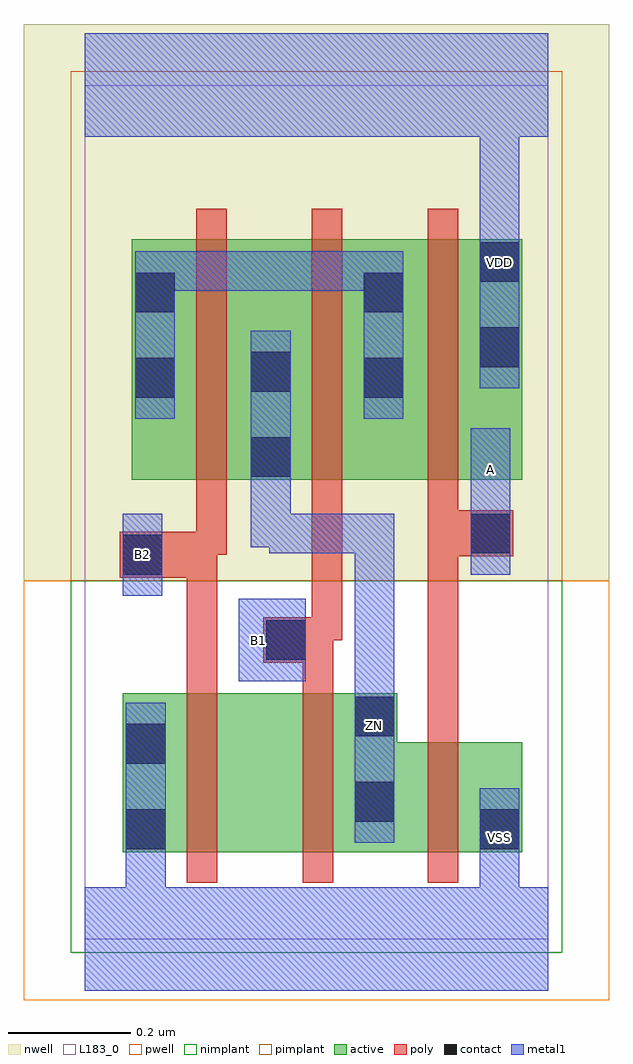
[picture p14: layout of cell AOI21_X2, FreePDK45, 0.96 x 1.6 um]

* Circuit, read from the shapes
.subckt AOI21_X2 A B1 B2 VDD VSS ZN
M1 n1 B2 VSS VSUBS nfet w=0.26u l=0.05u
M2 ZN B1 n1 VSUBS nfet w=0.26u l=0.05u
M3 VSS A ZN VSUBS nfet w=0.18u l=0.05u
M4 ZN B2 n2 n3 pfet w=0.395u l=0.05u
M5 n2 B1 ZN n3 pfet w=0.395u l=0.05u
M6 VDD A n2 n3 pfet w=0.395u l=0.05u
.ends

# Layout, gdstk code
import gdstk
lib = gdstk.Library(unit=1e-6, precision=1e-10)
def R(c, l, rs):  # rectangles x0, y0, x1, y1
    for r in rs: c.add(gdstk.rectangle(r[:2], r[2:], *l))
def P(c, l, *ps):  # polygons
    for p in ps: c.add(gdstk.Polygon(p, *l))
active = (1, 0)
pwell = (2, 0)
nwell = (3, 0)
nimplant = (4, 0)
pimplant = (5, 0)
poly = (9, 0)
contact = (10, 0)
metal1 = (11, 0)
L183_0 = (183, 0)

aoi21_x2 = lib.new_cell('AOI21_X2')
P(aoi21_x2, active, [(0.0625,0.1425),(0.1675,0.1425),(0.2175,0.1425),(0.3575,0.1425),(0.4075,0.1425),(0.5625,0.1425),(0.6125,0.1425),(0.7175,0.1425),(0.7175,0.3225),(0.6125,0.3225),(0.5625,0.3225),(0.5125,0.3225),(0.5125,0.4025),(0.4075,0.4025),(0.3575,0.4025),(0.2175,0.4025),(0.1675,0.4025),(0.0625,0.4025)],
  [(0.0775,0.7525),(0.1825,0.7525),(0.2325,0.7525),(0.3725,0.7525),(0.4225,0.7525),(0.5625,0.7525),(0.6125,0.7525),(0.7175,0.7525),(0.7175,1.1475),(0.6125,1.1475),(0.5625,1.1475),(0.4225,1.1475),(0.3725,1.1475),(0.2325,1.1475),(0.1825,1.1475),(0.0775,1.1475)])
P(aoi21_x2, pwell, [(-0.1,-0.1),(0.86,-0.1),(0.86,0.5875),(0.66,0.5875),(0.1,0.5875),(-0.1,0.5875)])
P(aoi21_x2, nwell, [(-0.1,0.5875),(0.1,0.5875),(0.66,0.5875),(0.86,0.5875),(0.86,1.5),(-0.1,1.5)])
R(aoi21_x2, nimplant, [(-0.0225,-0.0225,0.7825,0.5875)])
R(aoi21_x2, pimplant, [(-0.0225,0.5875,0.7825,1.4225)])
P(aoi21_x2, poly, [(0.0575,0.5925),(0.1675,0.5925),(0.1675,0.4025),(0.1675,0.1425),(0.1675,0.0925),(0.2175,0.0925),(0.2175,0.1425),(0.2175,0.4025),(0.2175,0.63),(0.2325,0.63),(0.2325,0.7525),(0.2325,1.1475),(0.2325,1.1975),(0.1825,1.1975),(0.1825,1.1475),(0.1825,0.7525),(0.1825,0.6675),(0.0575,0.6675)],
  [(0.2925,0.4525),(0.3575,0.4525),(0.3575,0.4025),(0.3575,0.1425),(0.3575,0.0925),(0.4075,0.0925),(0.4075,0.1425),(0.4075,0.4025),(0.4075,0.49),(0.4225,0.49),(0.4225,0.7525),(0.4225,1.1475),(0.4225,1.1975),(0.3725,1.1975),(0.3725,1.1475),(0.3725,0.7525),(0.3725,0.5275),(0.2925,0.5275)],
  [(0.5625,0.0925),(0.6125,0.0925),(0.6125,0.1425),(0.6125,0.3225),(0.6125,0.6275),(0.7025,0.6275),(0.7025,0.7025),(0.6125,0.7025),(0.6125,0.7525),(0.6125,1.1475),(0.6125,1.1975),(0.5625,1.1975),(0.5625,1.1475),(0.5625,0.7525),(0.5625,0.3225),(0.5625,0.1425)])
R(aoi21_x2, contact, [(0.0675,0.1475,0.1325,0.2125), (0.6475,0.1475,0.7125,0.2125), (0.4425,0.1925,0.5075,0.2575), (0.0675,0.2875,0.1325,0.3525), (0.4425,0.3325,0.5075,0.3975), (0.2975,0.4575,0.3625,0.5225), (0.0625,0.5975,0.1275,0.6625), (0.6325,0.6325,0.6975,0.6975), (0.2725,0.7575,0.3375,0.8225), (0.0825,0.8875,0.1475,0.9525), (0.4575,0.8875,0.5225,0.9525), (0.2725,0.8975,0.3375,0.9625), (0.6475,0.9375,0.7125,1.0025), (0.0825,1.0275,0.1475,1.0925), (0.4575,1.0275,0.5225,1.0925), (0.6475,1.0775,0.7125,1.1425)])
R(aoi21_x2, metal1, [(0.2525,0.4225,0.3625,0.5575), (0.0625,0.5625,0.1275,0.6975), (0.6325,0.5975,0.6975,0.8375)])
P(aoi21_x2, metal1, [(0.0825,0.8525),(0.1475,0.8525),(0.1475,1.0625),(0.4575,1.0625),(0.4575,0.8525),(0.5225,0.8525),(0.5225,1.1275),(0.0825,1.1275)],
  [(0,-0.085),(0.76,-0.085),(0.76,0.085),(0.7125,0.085),(0.7125,0.2475),(0.6475,0.2475),(0.6475,0.085),(0.1325,0.085),(0.1325,0.3875),(0.0675,0.3875),(0.0675,0.085),(0,0.085)],
  [(0,1.315),(0.6475,1.315),(0.6475,0.9025),(0.7125,0.9025),(0.7125,1.315),(0.76,1.315),(0.76,1.485),(0,1.485)],
  [(0.2725,0.6425),(0.3025,0.6425),(0.3025,0.6325),(0.4425,0.6325),(0.4425,0.1575),(0.5075,0.1575),(0.5075,0.6975),(0.3375,0.6975),(0.3375,0.9975),(0.2725,0.9975)])
R(aoi21_x2, L183_0, [(0,0,0.76,1.4)])
aoi21_x2.add(gdstk.Label('A', (0.665,0.77), layer=11, texttype=0))
aoi21_x2.add(gdstk.Label('B1', (0.285,0.49), layer=11, texttype=0))
aoi21_x2.add(gdstk.Label('B2', (0.095,0.63), layer=11, texttype=0))
aoi21_x2.add(gdstk.Label('VDD', (0.68,1.1087), layer=11, texttype=0))
aoi21_x2.add(gdstk.Label('VSS', (0.68,0.1662), layer=11, texttype=0))
aoi21_x2.add(gdstk.Label('ZN', (0.475,0.35), layer=11, texttype=0))

lib.write_gds('AOI21_X2.gds')
